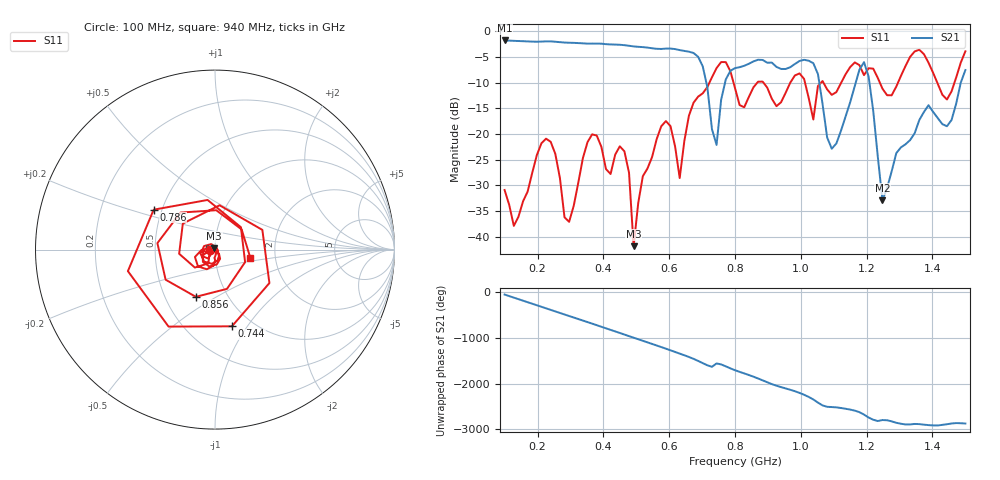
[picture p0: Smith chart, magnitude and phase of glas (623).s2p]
! NanoVNA-App
! Date: 2025-09-25 16:00:19
! Start: 100MHz Stop: 1,5GHz Points: 101
! S-Parameter data: F S11 S21 S12 S22
# Hz S RI R 50
!  Frequency  S11_Real  S11_Imag  S21_Real  S21_Imag  S12_Real  S12_Imag  S22_Real  S22_Imag
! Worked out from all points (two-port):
!   101 points, 100 MHz to 1.5 GHz, reference 50 ohm
!   highest |S21| = -1.80 dB at 100 MHz (marker M1); lowest = -32.9 dB at 1.248 GHz (marker M2)
!   |S21| within 3 dB of the highest: start of sweep to 684.6 MHz
!   lowest |S11| = -41.9 dB at 492 MHz (marker M3), VSWR 1.02, Z = 49.5 + j0.616 ohm
!   |S11| at or under -10 dB: start of sweep to 722.5 MHz; 795.4 MHz to 867.9 MHz (72.49 MHz wide, 8.72 % of centre); 886.2 MHz to 968.1 MHz (81.95 MHz wide, 8.84 % of centre) (the widest 3 of 7)
!   S12 and S22 are empty: the file has one direction only
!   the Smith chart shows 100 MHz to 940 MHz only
!   S11 on the Smith chart (normalised r, x): 100 MHz: 0.95, -0.01; 744 MHz: 0.81, -0.85; 786 MHz: 0.45, +0.24; 856 MHz: 0.71, -0.41; 940 MHz: 1.48, -0.15
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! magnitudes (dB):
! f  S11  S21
! 100 MHz  -30.9  -1.8
! 128 MHz  -37.9  -1.9
! 226 MHz  -20.9  -2.0
! 296 MHz  -37.1  -2.2
! 338 MHz  -24.7  -2.4
! 464 MHz  -23.4  -2.7
! 492 MHz  -41.9  -3.0
! 576 MHz  -18.5  -3.5
! 632 MHz  -28.6  -3.7
! 702 MHz  -12.1  -6.8
! 744 MHz  -7.2  -22.1
! 786 MHz  -7.8  -7.7
! 800 MHz  -11.1  -7.2
! 856 MHz  -10.9  -5.9
! 940 MHz  -13.8  -7.4
! 996 MHz  -8.2  -5.8
! 1.038 GHz  -17.2  -6.2
! 1.094 GHz  -12.4  -22.9
! 1.192 GHz  -8.6  -6.0
! 1.248 GHz  -11.2  -32.9
! 1.276 GHz  -12.5  -27.3
! 1.5 GHz  -3.9  -7.6
